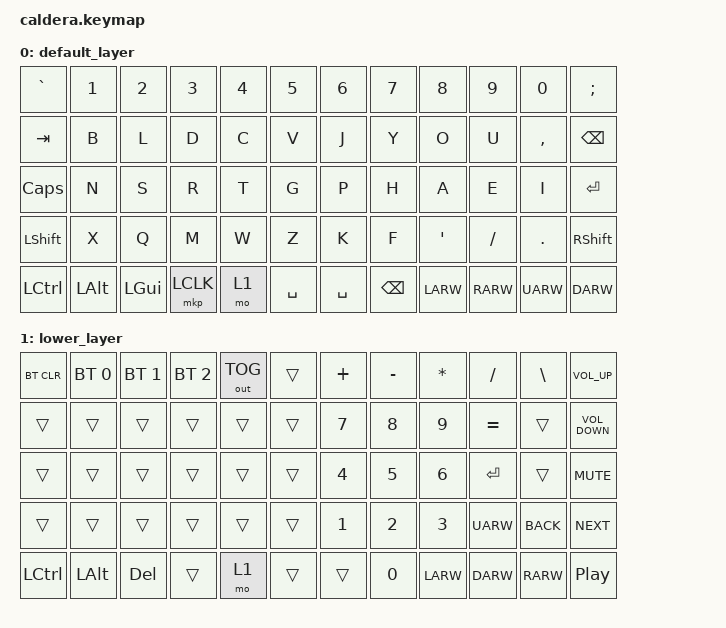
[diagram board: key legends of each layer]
#include <behaviors.dtsi>
#include <dt-bindings/zmk/keys.h>
#include <dt-bindings/zmk/bt.h>

/ {
        keymap {
                compatible = "zmk,keymap";

                default_layer {
// ---------------------------------------------------------------------------------
// |   `  |  1  |  2  |  3  |  4  |  5  |     |  6  |  7  |  8  |  9  |  0  | BKSP |
// |  TAB |  Q  |  W  |  E  |  R  |  T  |     |  Y  |  U  |  I  |  O  |  P  |  \   |
// | CAPS |  A  |  S  |  D  |  F  |  G  |     |  H  |  J  |  K  |  L  |  ;  |  ENT |
// | SHFT |  Z  |  X  |  C  |  V  |  B  |     |  N  |  M  |  ,  |  .  |  /  | APOS |
// | CTRL | ALT | GUI | SPC | SPC | SPC |     | SPC | LOW |LARW |DARW |UARW | RARW |
                        bindings = <
     &kp GRAVE  &kp N1    &kp N2    &kp N3     &kp N4     &kp N5               &kp N6     &kp N7   &kp N8     &kp N9    &kp N0    &kp SEMI
   &kp TAB    &kp B     &kp L     &kp D      &kp C      &kp V                &kp J      &kp Y    &kp O      &kp U     &kp COMMA &kp BSPC
   &kp CAPS   &kp N     &kp S     &kp R      &kp T      &kp G                &kp P      &kp H    &kp A      &kp E     &kp I     &kp RET
   &kp LSHFT  &kp X     &kp Q     &kp M      &kp W      &kp Z                &kp K      &kp F    &kp APOS   &kp FSLH  &kp DOT   &kp RSHFT
   &kp LCTRL  &kp LALT  &kp LGUI  &mkp LCLK  &mo 1      &kp SPACE            &kp SPACE  &kp BSPC &kp LARW   &kp RARW  &kp UARW  &kp DARW
                        >;
                };
                lower_layer {
// ------------------------------------------------------------------------------------------------------------
// |       |  BT1  |  BT2  |  BT3  |  BT4  |  BT5  |          |       |       |       |       |       | BTCLR |
// |       |       |       |       |       |       |          |       |       |       |       |       |       |
// |       |       |       | LPAR  | RPAR  |       |          |       | LBKT  | RBKT  |       |       |       |
// |       |       |       |       |       |       |          |       |       |       |       |       |       |
                        bindings = <
   &bt BT_CLR &bt BT_SEL 0   &bt BT_SEL 1   &bt BT_SEL 2   &out OUT_TOG   &trans                 &kp PLUS  &kp MINUS &kp STAR &kp FSLH    &kp BSLH            &kp C_VOLUME_UP  
   &trans     &trans         &trans         &trans         &trans         &trans                 &kp N7    &kp N8    &kp N9   &kp EQUAL   &trans              &kp C_VOLUME_DOWN
   &trans     &trans         &trans         &trans         &trans         &trans                 &kp N4    &kp N5    &kp N6   &kp RET     &trans              &kp K_MUTE
   &trans     &trans         &trans         &trans         &trans         &trans                 &kp N1    &kp N2    &kp N3   &kp UARW    &kp K_BACK          &kp K_NEXT
   &kp LCTRL  &kp LALT       &kp DEL        &trans         &mo 1          &trans                 &trans    &kp N0    &kp LARW &kp DARW    &kp RARW           &kp C_PLAY_PAUSE
                        >;
                };
        };
};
